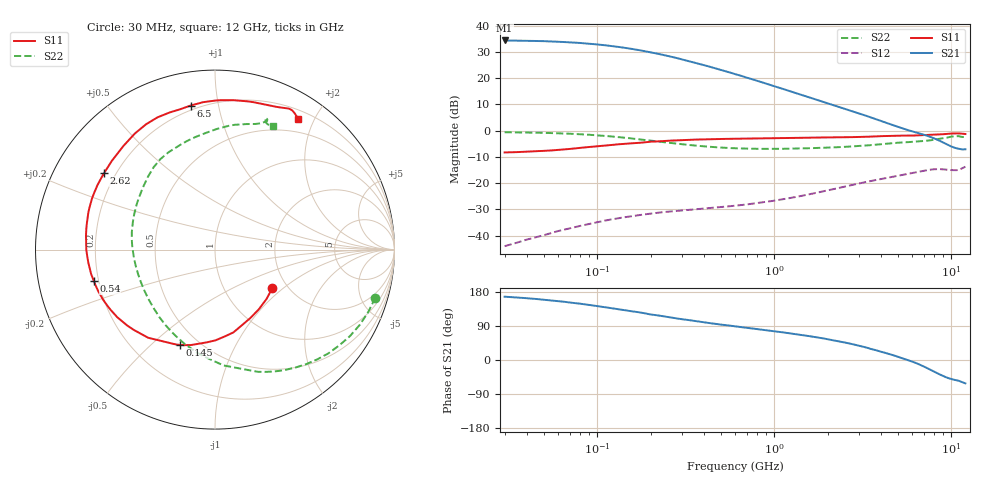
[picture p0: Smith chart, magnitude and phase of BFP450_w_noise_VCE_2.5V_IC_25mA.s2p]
! (c) 2015  Infineon Technologies AG, Munich
! Infineon Technologies  Discrete & RF Semiconductors
! BFP450
! VCE =  2.5 V,  IC =  25 mA
! Common Emitter S-Parameters:  Nov 2015
# GHz  S  MA  R  50
!  f  S11  S21  S12  S22
! GHz  MAG  ANG  MAG  ANG  MAG  ANG  MAG  ANG
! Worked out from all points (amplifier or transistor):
!   239 points, 30 MHz to 12 GHz, reference 50 ohm
!   highest |S21| = 34.4 dB at 30 MHz (marker M1)
!   |S21| within 3 dB of that: start of sweep to 149.8 MHz
!   unconditionally stable (mu >= 1): 1.528 GHz to end of sweep
!   at 300 MHz: K = 0.35, MSG = 28.8 dB, |S12| = -30.4 dB
!   at 1.88 GHz: K = 1.06, MAG = 15.6 dB, |S12| = -23.1 dB
!   at 12 GHz: K = 1.11, MAG = 1.4 dB, |S12| = -13.7 dB
!   lowest NFmin = 1.19 dB at 450 MHz
!   S11 on the Smith chart (normalised r, x): 30 MHz: 1.68, -0.84; 145 MHz: 0.40, -0.62; 540 MHz: 0.18, -0.12; 2.62 GHz: 0.16, +0.31; 6.5 GHz: 0.17, +0.83; 12 GHz: 0.31, +1.78
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0.03  0.3847 -33.7  52.28 167.1  0.0063 79.1  0.9327 -16.7
0.04  0.3976 -43.7  51.54 163.1  0.0084 75.9  0.922 -22.1
0.05  0.4125 -53.7  50.7 159.0  0.0102 73.0  0.909 -27.5
0.06  0.4294 -62.8  49.48 155.6  0.0122 70.3  0.8933 -32.6
0.07  0.4483 -70.7  48.15 151.7  0.0138 67.5  0.8744 -37.6
0.085  0.4795 -80.8  46.07 147.0  0.016 64.0  0.8454 -44.7
0.11  0.5184 -94.9  42.48 139.6  0.0193 58.3  0.7958 -55.6
0.145  0.5651 -110.1  37.64 130.9  0.0226 52.2  0.7304 -68.8
0.175  0.5886 -119.9  33.91 125.4  0.0247 48.5  0.6786 -77.8
0.2  0.6162 -127.1  31.05 120.2  0.0264 45.8  0.6471 -85.8
0.24  0.6363 -135.3  27.37 114.9  0.0282 42.8  0.6008 -95.3
0.3  0.662 -145.2  22.86 107.7  0.0303 40.0  0.552 -107.9
0.36  0.6759 -152.2  19.54 102.6  0.0318 38.6  0.5188 -117.6
0.45  0.6901 -160.1  15.87 96.2  0.034 37.7  0.4875 -129.4
0.54  0.6975 -165.6  13.37 91.7  0.0359 37.9  0.4693 -138.0
0.6  0.7035 -168.9  11.95 88.7  0.0372 38.1  0.4621 -143.3
1  0.7187 176.9  7.01 75.7  0.0464 41.0  0.4501 -165.2
1.64  0.7364 162.5  4.124 61.8  0.0631 41.9  0.4646 175.0
2.62  0.7508 145.3  2.468 44.1  0.0889 36.7  0.496 153.8
4.5  0.797 118.8  1.33 15.0  0.1288 20.2  0.5726 126.6
6.5  0.814 99.6  0.9 -10.5  0.1649 2.4  0.6246 104.5
12  0.8638 57.6  0.442 -61.7  0.2054 -40.4  0.7597 64.7
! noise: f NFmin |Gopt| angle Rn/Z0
0.45  1.19  0.39  -177  0.07
0.9  1.26  0.44  -174  0.06
1.9  1.38  0.51  -159  0.08
2.4  1.51  0.54  -149  0.1
